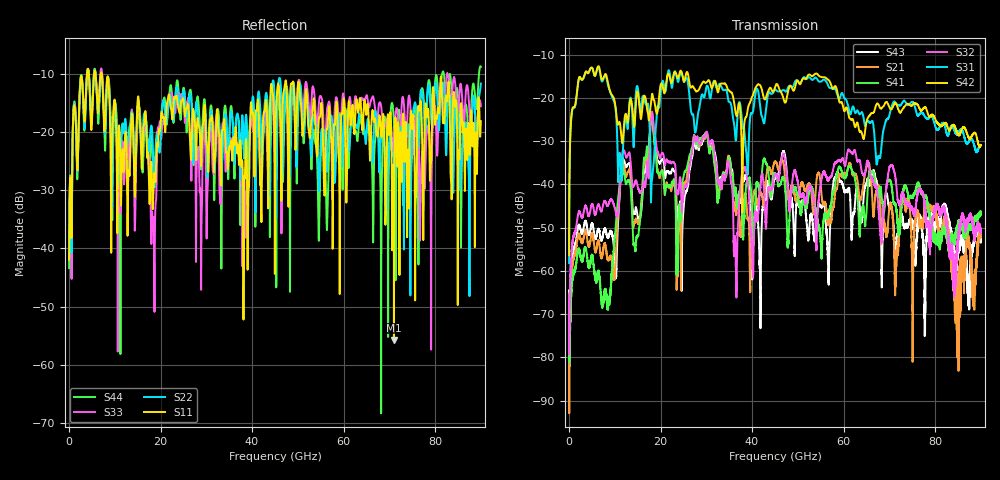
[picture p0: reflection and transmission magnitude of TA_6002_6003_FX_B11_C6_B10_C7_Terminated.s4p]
!Keysight Technologies,N5227B,US51270452,A.15.40.11
!Date: Tuesday, January 25, 2022 13:25:28
!Correction: S11(C  4-Port  )
!S12(C  4-Port  )
!S13(C  4-Port  )
!S14(C  4-Port  )
!S21(C  4-Port  )
!S22(C  4-Port  )
!S23(C  4-Port  )
!S24(C  4-Port  )
!S31(C  4-Port  )
!S32(C  4-Port  )
!S33(C  4-Port  )
!S34(C  4-Port  )
!S41(C  4-Port  )
!S42(C  4-Port  )
!S43(C  4-Port  )
!S44(C  4-Port  )
!S4P File: Measurements: <S11,S12,S13,S14>,
!<S21,S22,S23,S24>,
!<S31,S32,S33,S34>,
!<S41,S42,S43,S44>:
# Hz S  dB  R 50
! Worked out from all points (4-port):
!   9000 points, 10 MHz to 90 GHz, reference 50 ohm
!   strongest paths, dB at 10 MHz, 22.51 GHz, 45.01 GHz, 67.51 GHz, 90 GHz:
!     S42: -56.4, -16.2, -17.5, -21.3, -30.8
!     S31: -58.2, -17.6, -18.0, -33.8, -31.0
!     S32: -67.9, -34.9, -37.7, -43.8, -50.7
!     S41: -76.1, -39.3, -37.5, -42.4, -46.4
!     S21: -67.6, -40.5, -34.7, -40.4, -51.7
!     S43: -67.4, -36.4, -38.5, -40.5, -53.1
!   lowest |S11| = -55.7 dB at 70.99 GHz (marker M1), VSWR 1.00, Z = 49.9 + j0.11 ohm
!   |S11| at or under -10 dB: start of sweep to 3.935 GHz; 5.772 GHz to 6.94 GHz (1.168 GHz wide, 18.4 % of centre); 7.144 GHz to end of sweep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
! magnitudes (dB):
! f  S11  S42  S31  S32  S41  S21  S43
! 10 MHz  -41.9  -56.4  -58.2  -67.9  -76.1  -67.6  -67.4
! 4.8 GHz  -19.3  -13.0  -13.1  -45.2  -56.9  -52.1  -49.7
! 18.03 GHz  -26.4  -19.8  -39.5  -23.5  -23.7  -23.9  -23.5
! 23.8 GHz  -15.7  -15.4  -16.3  -42.1  -56.1  -57.0  -47.1
! 36.39 GHz  -19.2  -23.3  -29.7  -54.9  -40.9  -45.5  -41.3
! 70.99 GHz  -55.7  -21.5  -20.9  -36.8  -44.4  -53.4  -50.8
! 90 GHz  -18.2  -30.8  -31.0  -50.7  -46.4  -51.7  -53.1
